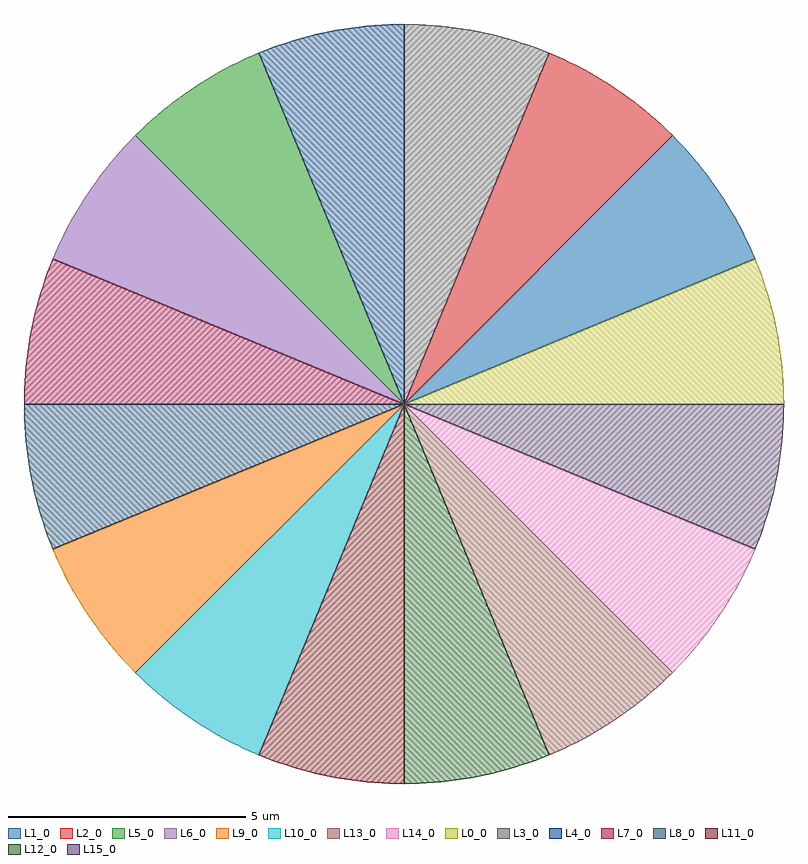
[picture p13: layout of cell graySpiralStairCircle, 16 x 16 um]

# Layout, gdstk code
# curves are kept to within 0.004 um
import gdstk
lib = gdstk.Library(unit=1e-6, precision=1e-09)
def P(c, l, *ps):  # polygons
    for p in ps: c.add(gdstk.Polygon(p, *l))
L0_0 = (0, 0)
L1_0 = (1, 0)
L2_0 = (2, 0)
L3_0 = (3, 0)
L4_0 = (4, 0)
L5_0 = (5, 0)
L6_0 = (6, 0)
L7_0 = (7, 0)
L8_0 = (8, 0)
L9_0 = (9, 0)
L10_0 = (10, 0)
L11_0 = (11, 0)
L12_0 = (12, 0)
L13_0 = (13, 0)
L14_0 = (14, 0)
L15_0 = (15, 0)

grayspiralstaircircle = lib.new_cell('graySpiralStairCircle')
P(grayspiralstaircircle, L0_0, [(0,0),(7.391,3.061),(7.558,2.621),(7.7,2.172),(7.779,1.868),(7.846,1.561),(7.925,1.096),(7.961,0.784),(7.986,0.471),(8,0)])
P(grayspiralstaircircle, L1_0, [(0,0),(5.657,5.657),(5.98,5.314),(6.283,4.953),(6.472,4.702),(6.652,4.445),(6.902,4.045),(7.128,3.632),(7.265,3.349),(7.391,3.061)])
P(grayspiralstaircircle, L2_0, [(0,0),(3.061,7.391),(3.349,7.265),(3.632,7.128),(4.045,6.902),(4.445,6.652),(4.702,6.472),(4.953,6.283),(5.314,5.98),(5.657,5.657)])
P(grayspiralstaircircle, L3_0, [(0,0),(0,8),(0.471,7.986),(0.784,7.961),(1.096,7.925),(1.561,7.846),(1.868,7.779),(2.172,7.7),(2.621,7.558),(3.061,7.391)])
P(grayspiralstaircircle, L4_0, [(0,0),(-3.061,7.391),(-2.621,7.558),(-2.172,7.7),(-1.868,7.779),(-1.561,7.846),(-1.096,7.925),(-0.784,7.961),(-0.471,7.986),(0,8)])
P(grayspiralstaircircle, L5_0, [(0,0),(-5.657,5.657),(-5.314,5.98),(-4.953,6.283),(-4.702,6.472),(-4.445,6.652),(-4.045,6.902),(-3.632,7.128),(-3.349,7.265),(-3.061,7.391)])
P(grayspiralstaircircle, L6_0, [(0,0),(-7.391,3.061),(-7.265,3.349),(-7.128,3.632),(-6.902,4.045),(-6.652,4.445),(-6.472,4.702),(-6.283,4.953),(-5.98,5.314),(-5.657,5.657)])
P(grayspiralstaircircle, L7_0, [(0,0),(-8,0),(-7.986,0.471),(-7.961,0.784),(-7.925,1.096),(-7.846,1.561),(-7.779,1.868),(-7.7,2.172),(-7.558,2.621),(-7.391,3.061)])
P(grayspiralstaircircle, L8_0, [(-7.391,-3.061),(-7.506,-2.769),(-7.656,-2.322),(-7.779,-1.868),(-7.846,-1.561),(-7.925,-1.096),(-7.961,-0.784),(-7.994,-0.314),(-8,0),(0,0)])
P(grayspiralstaircircle, L9_0, [(-5.657,-5.657),(-5.875,-5.43),(-6.184,-5.075),(-6.379,-4.828),(-6.652,-4.445),(-6.902,-4.045),(-7.055,-3.771),(-7.198,-3.491),(-7.391,-3.061),(0,0)])
P(grayspiralstaircircle, L10_0, [(-3.061,-7.391),(-3.491,-7.198),(-3.771,-7.055),(-4.045,-6.902),(-4.445,-6.652),(-4.828,-6.379),(-5.075,-6.184),(-5.43,-5.875),(-5.657,-5.657),(0,0)])
P(grayspiralstaircircle, L11_0, [(0,-8),(-0.314,-7.994),(-0.784,-7.961),(-1.096,-7.925),(-1.561,-7.846),(-1.868,-7.779),(-2.322,-7.656),(-2.769,-7.506),(-3.061,-7.391),(0,0)])
P(grayspiralstaircircle, L12_0, [(0,-8),(0,0),(3.061,-7.391),(2.769,-7.506),(2.322,-7.656),(1.868,-7.779),(1.561,-7.846),(1.096,-7.925),(0.784,-7.961),(0.314,-7.994)])
P(grayspiralstaircircle, L13_0, [(3.061,-7.391),(0,0),(5.657,-5.657),(5.43,-5.875),(5.075,-6.184),(4.828,-6.379),(4.445,-6.652),(4.045,-6.902),(3.771,-7.055),(3.491,-7.198)])
P(grayspiralstaircircle, L14_0, [(5.657,-5.657),(0,0),(7.391,-3.061),(7.198,-3.491),(7.055,-3.771),(6.902,-4.045),(6.652,-4.445),(6.379,-4.828),(6.184,-5.075),(5.875,-5.43)])
P(grayspiralstaircircle, L15_0, [(7.391,-3.061),(0,0),(8,0),(7.994,-0.314),(7.961,-0.784),(7.925,-1.096),(7.846,-1.561),(7.779,-1.868),(7.656,-2.322),(7.506,-2.769)])

lib.write_gds('graySpiralStairCircle.gds')
